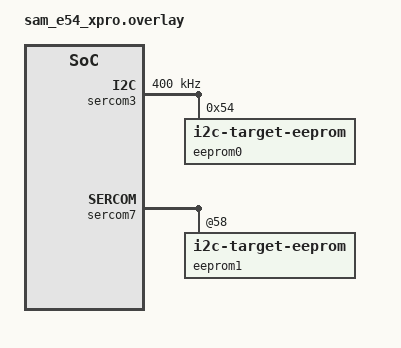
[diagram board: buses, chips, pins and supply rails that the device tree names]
/*
 * Copyright (c) 2026 Microchip Technology Inc.
 *
 * SPDX-License-Identifier: Apache-2.0
 */

/* Connect PA22 <-> PD8 (SDA) and PA23 <-> PD9 (SCL) */

&pinctrl {
	sercom3_i2c_default: sercom3_i2c_default {
		group1 {
			pinmux = <PA22C_SERCOM3_PAD0>,
				 <PA23C_SERCOM3_PAD1>;
		};
	};
};

&sercom3 {
	compatible = "microchip,sercom-g1-i2c";
	#address-cells = <1>;
	#size-cells = <0>;
	clock-frequency = <I2C_BITRATE_FAST>;
	pinctrl-0 = <&sercom3_i2c_default>;
	pinctrl-names = "default";
	status = "okay";

	eeprom0: eeprom@54 {
		compatible = "zephyr,i2c-target-eeprom";
		reg = <0x54>;
		size = <256>;
	};
};

&sercom7 {
	eeprom1: eeprom@58 {
		compatible = "zephyr,i2c-target-eeprom";
		reg = <0x58>;
		size = <256>;
	};
};
